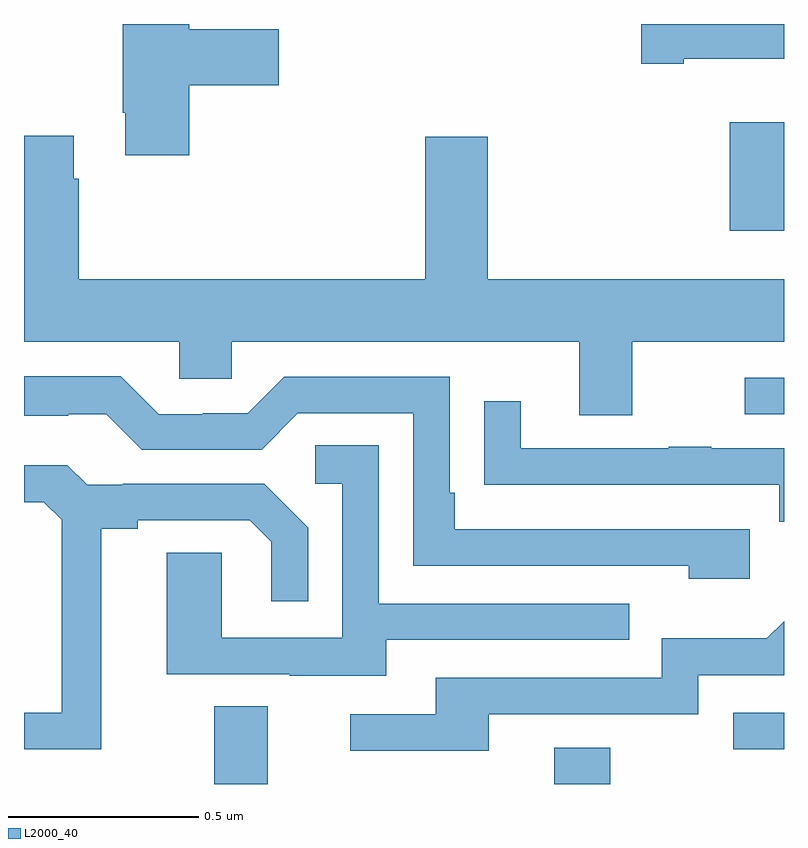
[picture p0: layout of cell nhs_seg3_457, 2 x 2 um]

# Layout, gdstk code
import gdstk
lib = gdstk.Library(unit=1e-6, precision=1e-09)
def R(c, l, rs):  # rectangles x0, y0, x1, y1
    for r in rs: c.add(gdstk.rectangle(r[:2], r[2:], *l))
def P(c, l, *ps):  # polygons
    for p in ps: c.add(gdstk.Polygon(p, *l))
L2000_40 = (2000, 40)

nhs_seg3_457 = lib.new_cell('nhs_seg3_457')
R(nhs_seg3_457, L2000_40, [(116.501,718.4,116.641,718.604), (117.395,718.4,117.543,718.495), (117.867,718.491,118,718.587), (117.897,719.373,118,719.469), (117.857,719.856,118,720.142)])
P(nhs_seg3_457, L2000_40, [(116.435,720.239),(116.671,720.239),(116.671,720.386),(116.435,720.386),(116.435,720.4),(116.26,720.4),(116.26,720.166),(116.267,720.166),(116.267,720.054),(116.435,720.054)],
  [(117.736,720.308),(118,720.308),(118,720.4),(117.624,720.4),(117.624,720.296),(117.736,720.296)],
  [(117.601,719.564),(118,719.564),(118,719.728),(117.22,719.728),(117.22,720.103),(117.056,720.103),(117.056,719.728),(116.144,719.728),(116.144,719.993),(116.131,719.993),(116.131,720.106),(116,720.106),(116,719.564),(116.409,719.564),(116.409,719.466),(116.547,719.466),(116.547,719.564),(117.461,719.564),(117.461,719.37),(117.601,719.37)],
  [(117.91,719.07),(117.133,719.07),(117.133,719.167),(117.12,719.167),(117.12,719.472),(116.685,719.472),(116.589,719.376),(116.471,719.376),(116.471,719.373),(116.355,719.373),(116.255,719.473),(116,719.473),(116,719.369),(116.117,719.369),(116.117,719.373),(116.217,719.373),(116.31,719.28),(116.625,719.28),(116.721,719.376),(117.024,719.376),(117.024,718.974),(117.749,718.974),(117.749,718.94),(117.91,718.94)],
  [(118,719.283),(117.809,719.283),(117.809,719.288),(117.697,719.288),(117.697,719.283),(117.307,719.283),(117.307,719.407),(117.211,719.407),(117.211,719.188),(117.313,719.188),(117.313,719.187),(117.988,719.187),(117.988,719.09),(118,719.09)],
  [(116.953,718.779),(117.593,718.779),(117.593,718.875),(116.934,718.875),(116.934,719.291),(116.766,719.291),(116.766,719.19),(116.838,719.19),(116.838,718.785),(116.52,718.785),(116.52,719.009),(116.375,719.009),(116.375,718.689),(116.699,718.689),(116.699,718.685),(116.953,718.685)],
  [(116.203,719.072),(116.299,719.072),(116.299,719.094),(116.594,719.094),(116.651,719.037),(116.651,718.881),(116.748,718.881),(116.748,719.074),(116.632,719.19),(116.26,719.19),(116.26,719.187),(116.166,719.187),(116.114,719.239),(116,719.239),(116,719.142),(116.052,719.142),(116.099,719.095),(116.099,718.587),(116,718.587),(116,718.491),(116.203,718.491)],
  [(117.223,718.584),(117.774,718.584),(117.774,718.686),(118,718.686),(118,718.828),(117.955,718.783),(117.678,718.783),(117.678,718.68),(117.083,718.68),(117.083,718.584),(116.859,718.584),(116.859,718.488),(117.223,718.488)])

lib.write_gds('nhs_seg3_457.gds')
